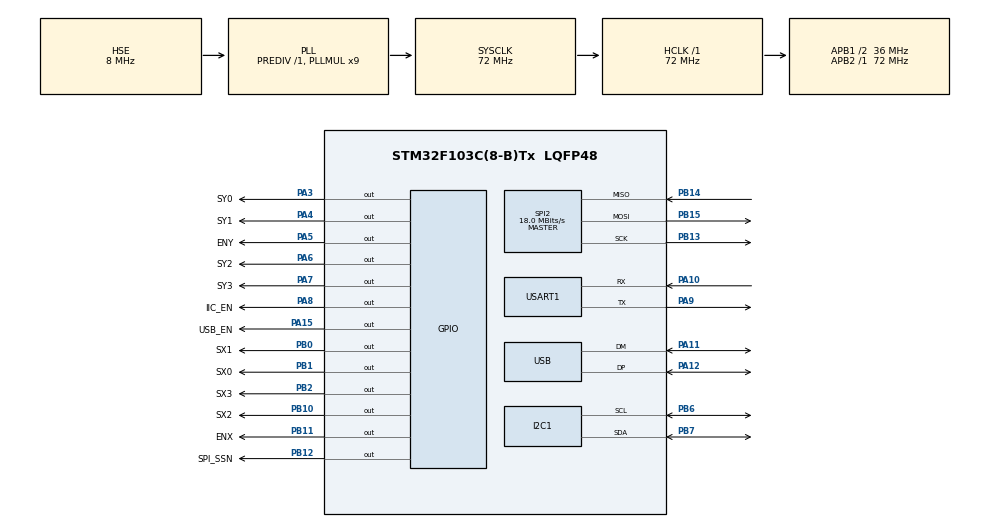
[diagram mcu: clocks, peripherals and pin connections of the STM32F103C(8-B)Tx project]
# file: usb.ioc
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Mcu.Family=STM32F1
Mcu.Name=STM32F103C(8-B)Tx
Mcu.Package=LQFP48
NVIC.PriorityGroup=NVIC_PRIORITYGROUP_4
NVIC.USB_LP_CAN1_RX0_IRQn=true\:0\:0\:false\:false\:true\:false\:true\:true
PA10.Mode=Asynchronous
PA10.Signal=USART1_RX
PA11.Mode=Device
PA11.Signal=USB_DM
PA12.Mode=Device
PA12.Signal=USB_DP
PA13.Mode=Serial_Wire
PA13.Signal=SYS_JTMS-SWDIO
PA14.Mode=Serial_Wire
PA14.Signal=SYS_JTCK-SWCLK
PA15.GPIO_Label=USB_EN
PA15.Signal=GPIO_Output
PA3.GPIO_Label=SY0
PA3.Signal=GPIO_Output
PA4.GPIO_Label=SY1
PA4.Signal=GPIO_Output
PA5.GPIO_Label=ENY
PA5.Signal=GPIO_Output
PA6.GPIO_Label=SY2
PA6.Signal=GPIO_Output
PA7.GPIO_Label=SY3
PA7.Signal=GPIO_Output
PA8.GPIO_Label=IIC_EN
PA8.Signal=GPIO_Output
PA9.Mode=Asynchronous
PA9.Signal=USART1_TX
PB0.GPIO_Label=SX1
PB0.Signal=GPIO_Output
PB1.GPIO_Label=SX0
PB1.Signal=GPIO_Output
PB10.GPIO_Label=SX2
PB10.Signal=GPIO_Output
PB11.GPIO_Label=ENX
PB11.Signal=GPIO_Output
PB12.GPIO_Label=SPI_SSN
PB12.Signal=GPIO_Output
PB13.Mode=Full_Duplex_Master
PB13.Signal=SPI2_SCK
PB14.Mode=Full_Duplex_Master
PB14.Signal=SPI2_MISO
PB15.Mode=Full_Duplex_Master
PB15.Signal=SPI2_MOSI
PB2.GPIO_Label=SX3
PB2.Signal=GPIO_Output
PB6.Mode=I2C
PB6.Signal=I2C1_SCL
PB7.Mode=I2C
PB7.Signal=I2C1_SDA
PD0-OSC_IN.Mode=HSE-External-Oscillator
PD0-OSC_IN.Signal=RCC_OSC_IN
PD1-OSC_OUT.Mode=HSE-External-Oscillator
PD1-OSC_OUT.Signal=RCC_OSC_OUT
ProjectManager.HeapSize=0x200
ProjectManager.StackSize=0x1000
ProjectManager.TargetToolchain=MDK-ARM V5
RCC.AHBFreq_Value=72000000
RCC.APB1CLKDivider=RCC_HCLK_DIV2
RCC.APB1Freq_Value=36000000
RCC.APB1TimFreq_Value=72000000
RCC.APB2Freq_Value=72000000
RCC.APB2TimFreq_Value=72000000
RCC.HCLKFreq_Value=72000000
RCC.PLLMUL=RCC_PLL_MUL9
RCC.SYSCLKFreq_VALUE=72000000
RCC.SYSCLKSource=RCC_SYSCLKSOURCE_PLLCLK
RCC.USBFreq_Value=48000000
RCC.USBPrescaler=RCC_USBCLKSOURCE_PLL_DIV1_5
SPI2.CalculateBaudRate=18.0 MBits/s
SPI2.Direction=SPI_DIRECTION_2LINES
SPI2.Mode=SPI_MODE_MASTER
SPI2.VirtualType=VM_MASTER
USART1.VirtualMode=VM_ASYNC
USB_DEVICE.CLASS_NAME_FS=CDC
USB_DEVICE.VirtualMode=Cdc
USB_DEVICE.VirtualModeFS=Cdc_FS
VP_USB_DEVICE_VS_USB_DEVICE_CDC_FS.Mode=CDC_FS
board=custom

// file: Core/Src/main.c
/* USER CODE BEGIN Header */
/**
  ******************************************************************************
  * @file           : main.c
  * @brief          : Main program body
  ******************************************************************************
  * @attention
  *
  * Copyright (c) 2025 STMicroelectronics.
  * All rights reserved.
  *
  * This software is licensed under terms that can be found in the LICENSE file
  * in the root directory of this software component.
  * If no LICENSE file comes with this software, it is provided AS-IS.
  *
  ******************************************************************************
  */
/* USER CODE END Header */
#include "main.h"
#include "i2c.h"
#include "spi.h"
#include "usart.h"
#include "usb_device.h"
#include "gpio.h"

/* USER CODE BEGIN Includes */
#include "pcap04.h"
#include "cd74hc4067.h"
#include "usbd_cdc_if.h"
/* USER CODE END Includes */

void SystemClock_Config(void);

int main(void)
{

  /* MCU Configuration--------------------------------------------------------*/

  /* Reset of all peripherals, Initializes the Flash interface and the Systick. */
  HAL_Init();

  /* Configure the system clock */
  SystemClock_Config();

  /* Initialize all configured peripherals */
  MX_GPIO_Init();
  HAL_GPIO_WritePin(IIC_EN_GPIO_Port, IIC_EN_Pin, GPIO_PIN_RESET);
  MX_USB_DEVICE_Init();
  MX_I2C1_Init();
  MX_SPI2_Init();
  MX_USART1_UART_Init();
  /* USER CODE BEGIN 2 */
  HAL_GPIO_WritePin(IIC_EN_GPIO_Port, IIC_EN_Pin, GPIO_PIN_RESET);
	// Initialize CD74HC4067 multiplexer
	MUX_Init();

	// Wait for USB enumeration to complete (longer delay to allow Windows to detect)
	HAL_Delay(2000);

	// Delay printf calls until USB is enumerated
	// Note: printf uses USB CDC which needs to be enumerated first

	if(PCap04_Test() != 1)
	{
		// Don't use printf here - USB may not be ready yet
		// printf("通讯失败\n");
	}

	PCap04_Init_Tow();

	// Wait additional time for USB to be fully ready
	HAL_Delay(500);

	// Now it's safe to use USB_Printf after USB enumeration
	// CD74HC4067 Multiplexer Test Examples
	USB_Printf("=== CD74HC4067 Multiplexer Test ===\r\n");

	// Test 1: Single channel selection
	USB_Printf("\n1. Testing single channel selection:\r\n");
	MUX_SelectMode(MUX_MODE_X_ONLY, 5, 0);
	HAL_Delay(500);
	MUX_SelectMode(MUX_MODE_Y_ONLY, 0, 10);
	HAL_Delay(500);

	// Test 2: Both channels
	USB_Printf("\n2. Testing both channels:\r\n");
	MUX_SelectMode(MUX_MODE_XY_BOTH, 3, 7);
	HAL_Delay(500);

	// Test 3: Print status
	USB_Printf("\n3. Current status:\r\n");
	MUX_PrintStatus();

	USB_Printf("\n=== Starting PCAP04 measurement with multiplexer ===\r\n");

  /* USER CODE END 2 */

  /* Infinite loop */
  while (1)
  {

    /* USER CODE BEGIN 3 */

		// Example 1: Scan specific row (Y=2, X scans 0-15)
		USB_Printf("\n--- Scanning Row 2 ---\r\n");
		MUX_ScanRow(2);
		HAL_Delay(2000);

		// Example 2: Scan specific column (X=5, Y scans 0-15)
		USB_Printf("\n--- Scanning Column 5 ---\r\n");
		MUX_ScanColumn(5);
		HAL_Delay(2000);

		// Example 3: Select specific position and read PCAP04
		USB_Printf("\n--- Reading PCAP04 at position [8,12] ---\r\n");
		MUX_SelectXY(8, 12);
		HAL_Delay(100);  // Settling time

		Value[0] = PCAP04_Read_CDC_Result_data(0);
		HAL_Delay(100);
		Value[1] = PCAP04_Read_CDC_Result_data(1);
		HAL_Delay(100);
		Value[2] = PCAP04_Read_CDC_Result_data(2);
		HAL_Delay(100);
		Value[3] = PCAP04_Read_CDC_Result_data(3);
		HAL_Delay(100);

		USB_Printf("Position [8,12] - PCAP04 Data:\r\n");
		USB_Printf("Channel 0: %X\r\n", Value[0]);
		USB_Printf("Channel 1: %X\r\n", Value[1]);
		USB_Printf("Channel 2: %X\r\n", Value[2]);
		USB_Printf("Channel 3: %X\r\n", Value[3]);

		HAL_Delay(3000);

		// Example 4: Show current multiplexer status
		MUX_PrintStatus();
		HAL_Delay(2000);
  }
  /* USER CODE END 3 */
}

void SystemClock_Config(void)
{
  RCC_OscInitTypeDef RCC_OscInitStruct = {0};
  RCC_ClkInitTypeDef RCC_ClkInitStruct = {0};
  RCC_PeriphCLKInitTypeDef PeriphClkInit = {0};

  /** Initializes the RCC Oscillators according to the specified parameters
  * in the RCC_OscInitTypeDef structure.
  */
  RCC_OscInitStruct.OscillatorType = RCC_OSCILLATORTYPE_HSE;
  RCC_OscInitStruct.HSEState = RCC_HSE_ON;
  RCC_OscInitStruct.HSEPredivValue = RCC_HSE_PREDIV_DIV1;
  RCC_OscInitStruct.HSIState = RCC_HSI_ON;
  RCC_OscInitStruct.PLL.PLLState = RCC_PLL_ON;
  RCC_OscInitStruct.PLL.PLLSource = RCC_PLLSOURCE_HSE;
  RCC_OscInitStruct.PLL.PLLMUL = RCC_PLL_MUL9;
  if (HAL_RCC_OscConfig(&RCC_OscInitStruct) != HAL_OK)
  {
    Error_Handler();
  }

  /** Initializes the CPU, AHB and APB buses clocks
  */
  RCC_ClkInitStruct.ClockType = RCC_CLOCKTYPE_HCLK|RCC_CLOCKTYPE_SYSCLK
                              |RCC_CLOCKTYPE_PCLK1|RCC_CLOCKTYPE_PCLK2;
  RCC_ClkInitStruct.SYSCLKSource = RCC_SYSCLKSOURCE_PLLCLK;
  RCC_ClkInitStruct.AHBCLKDivider = RCC_SYSCLK_DIV1;
  RCC_ClkInitStruct.APB1CLKDivider = RCC_HCLK_DIV2;
  RCC_ClkInitStruct.APB2CLKDivider = RCC_HCLK_DIV1;

  if (HAL_RCC_ClockConfig(&RCC_ClkInitStruct, FLASH_LATENCY_2) != HAL_OK)
  {
    Error_Handler();
  }
  PeriphClkInit.PeriphClockSelection = RCC_PERIPHCLK_USB;
  PeriphClkInit.UsbClockSelection = RCC_USBCLKSOURCE_PLL_DIV1_5;
  if (HAL_RCCEx_PeriphCLKConfig(&PeriphClkInit) != HAL_OK)
  {
    Error_Handler();
  }
}

void Error_Handler(void)
{
  __disable_irq();
  while (1)
  {
  }
}
